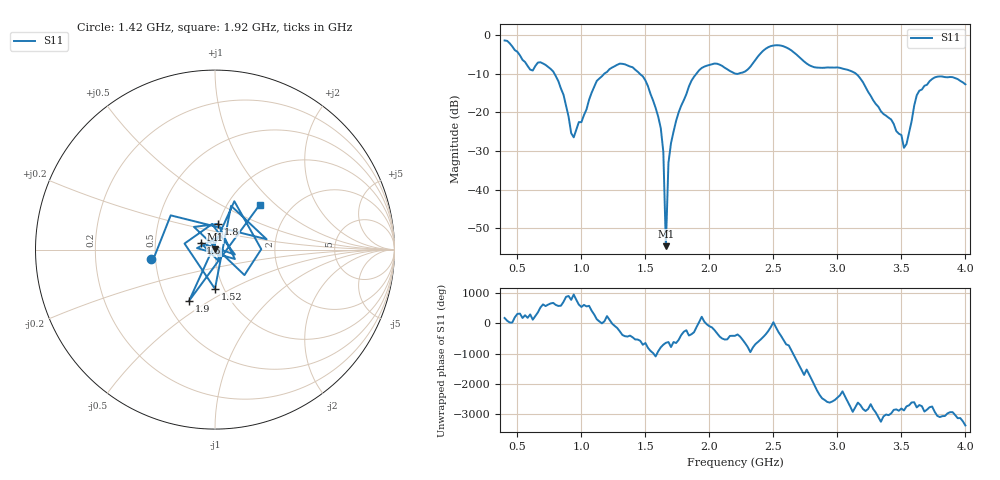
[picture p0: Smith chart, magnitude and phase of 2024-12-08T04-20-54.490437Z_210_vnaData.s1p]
!Created with skrf (http://scikit-rf.org).
# Hz S RI R 50.0
!freq ReS11 ImS11
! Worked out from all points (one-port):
!   181 points, 400 MHz to 4 GHz, reference 50 ohm
!   lowest |S11| = -54.7 dB at 1.66 GHz (marker M1), VSWR 1.00, Z = 50 + j0.18 ohm
!   |S11| at or under -10 dB: 790 MHz to 1.178 GHz (387.6 MHz wide, 39.4 % of centre); 1.456 GHz to 1.898 GHz (441.1 MHz wide, 26.3 % of centre); 3.146 GHz to end of sweep (the widest 3 of 4)
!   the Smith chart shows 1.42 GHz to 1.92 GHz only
!   S11 on the Smith chart (normalised r, x): 1.42 GHz: 0.47, -0.06; 1.52 GHz: 0.91, -0.42; 1.6 GHz: 0.85, +0.06; 1.8 GHz: 0.99, +0.29; 1.9 GHz: 0.65, -0.41; 1.92 GHz: 1.40, +0.80
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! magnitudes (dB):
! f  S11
! 400 MHz  -1.3
! 600 MHz  -8.9
! 760 MHz  -8.7
! 860 MHz  -15.4
! 940 MHz  -26.5
! 1.12 GHz  -11.8
! 1.3 GHz  -7.4
! 1.42 GHz  -8.9
! 1.52 GHz  -13.2
! 1.6 GHz  -21.1
! 1.64 GHz  -30.2
! 1.66 GHz  -54.7
! 1.68 GHz  -33.1
! 1.76 GHz  -20.0
! 1.8 GHz  -16.8
! 1.9 GHz  -9.9
! 1.92 GHz  -9.1
! 2.2 GHz  -9.9
! 2.48 GHz  -2.8
! 2.66 GHz  -4.4
! 2.82 GHz  -8.3
! 3.1 GHz  -9.2
! 3.42 GHz  -21.8
! 3.52 GHz  -29.2
! 3.56 GHz  -25.3
! 3.62 GHz  -15.5
! 3.74 GHz  -11.3
! 4 GHz  -12.7
